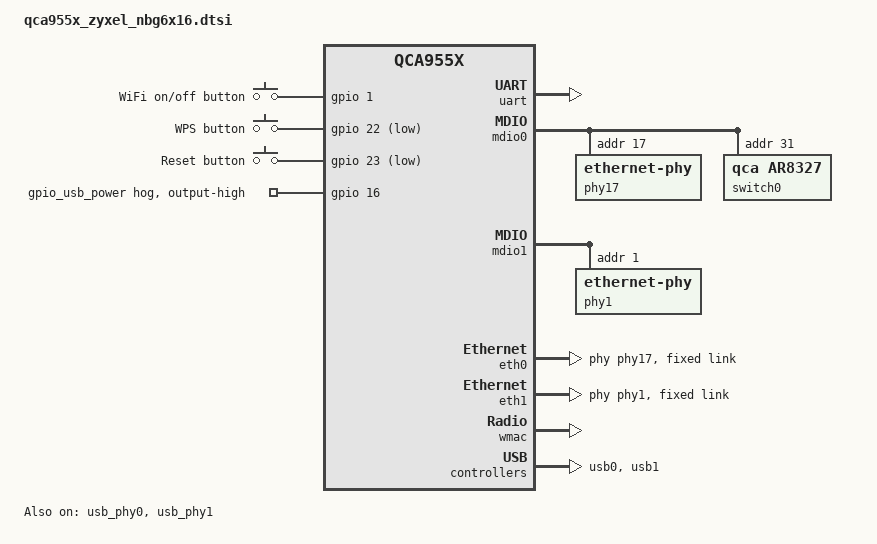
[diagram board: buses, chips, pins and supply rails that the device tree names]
// SPDX-License-Identifier: GPL-2.0-or-later OR MIT

#include "qca955x.dtsi"

#include <dt-bindings/gpio/gpio.h>
#include <dt-bindings/input/input.h>

/ {
	keys: keys {
		compatible = "gpio-keys";

		wifi {
			label = "WiFi on/off button";
			linux,code = <KEY_RFKILL>;
			linux,input-type = <EV_SW>;
			gpios = <&gpio 1 GPIO_ACTIVE_HIGH>;
			debounce-interval = <60>;
		};

		wps {
			label = "WPS button";
			linux,code = <KEY_WPS_BUTTON>;
			gpios = <&gpio 22 GPIO_ACTIVE_LOW>;
			debounce-interval = <60>;
		};

		reset {
			label = "Reset button";
			linux,code = <KEY_RESTART>;
			gpios = <&gpio 23 GPIO_ACTIVE_LOW>;
			debounce-interval = <60>;
		};
	};
};

&gpio {
	gpio_usb_power: usb_power {
		gpio-hog;
		gpios = <16 0>;
		output-high;
	};
};

&uart {
	status = "okay";
};

&mdio0 {
	status = "okay";

	phy17: ethernet-phy@11 {
		reg = <0x11>;
		phy-mode = "rgmii-id";
	};

	switch0@1f {
		compatible = "qca,ar8327";
		reg = <0x1f>;
		qca,ar8327-initvals = <
			0x04 0x87600000 /* PORT0 PAD MODE CTRL */
			0x0c 0x00080080 /* PORT6 PAD MODE CTRL */
			0x10 0x81000080 /* POWER_ON_STRAP */
			0x50 0xffb7ffb7 /* LED_CTRL0 */
			0x54 0xffb7ffb7 /* LED_CTRL1 */
			0x58 0xffb7ffb7 /* LED_CTRL2 */
			0x5c 0x03ffff00 /* LED_CTRL3 */
			0x7c 0x0000007e /* PORT0_STATUS */
			0x94 0x0000007e /* PORT6 STATUS */
			>;
	};
};

&mdio1 {
	status = "okay";

	phy1: ethernet-phy@1 {
		reg = <1>;
		phy-mode = "sgmii";
	};
};


&eth0 {
	status = "okay";

	pll-data = <0xa6000000 0x00000101 0x00001616>;
	phy-handle = <&phy17>;

	fixed-link {
		speed = <1000>;
		full-duplex;
	};
};

&eth1 {
	status = "okay";

	pll-data = <0x03000101 0x00000101 0x00001616>;
	phy-handle = <&phy1>;

	fixed-link {
		speed = <1000>;
		full-duplex;
	};
};

&wmac {
	status = "okay";

	mtd-cal-data = <&art 0x1000>;
};

&usb_phy0 {
	status = "okay";
};

&usb_phy1 {
	status = "okay";
};

&usb0 {
	status = "okay";

	hub_port0: port@1 {
		reg = <1>;
		#trigger-source-cells = <0>;
	};

};

&usb1 {
	status = "okay";

	hub_port1: port@1 {
		reg = <1>;
		#trigger-source-cells = <0>;
	};
};
